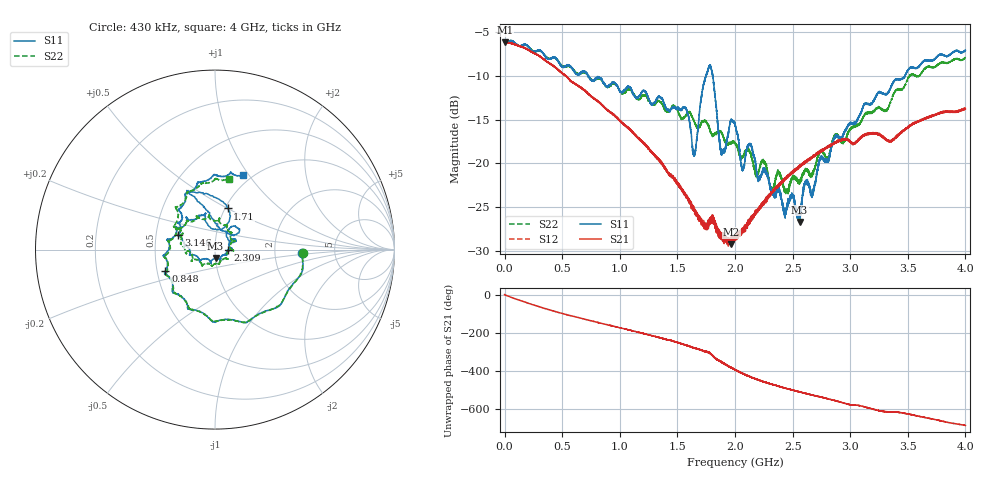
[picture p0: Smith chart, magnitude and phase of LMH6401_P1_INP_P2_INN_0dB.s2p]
!Keysight Technologies N9917A: A.08.18
!Date: Saturday, 27 May 2023 16:28:40
!Timezone: (GMT-07:00) Mountain Time (US & Canada)
!Model: N9917A
!Serial: MY52401314
!GPS Latitude:
!GPS Longitude:
!GPS TimeStamp: 0001-01-01 00:00:00Z
!GPS Seconds Since Last Read: 0
!CHECKSUM:0470450159
!Correction: S11(ON U)S21(ON U)S12(ON U)S22(ON U)
!S2P File: Measurements:S11,S21,S12,S22:
# Hz S DB R 50
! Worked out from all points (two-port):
!   10000 points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, 430 kHz to 4 GHz, reference 50 ohm
!   highest |S21| = -6.18 dB at 830 kHz (marker M1); lowest = -29.2 dB at 1.967 GHz (marker M2)
!   |S21| within 3 dB of the highest: start of sweep to 450.4 MHz; 450.4598 MHz to 451.4884 MHz (1.029 MHz wide, 0.228 % of centre)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
!   lowest |S11| = -26.7 dB at 2.56 GHz (marker M3), VSWR 1.10, Z = 50.1 - j4.64 ohm
!   |S11| at or under -10 dB: 725.3477 MHz to 726.4237 MHz (1.076 MHz wide, 0.148 % of centre); 726.4 MHz to 1.748 GHz (1.021 GHz wide, 82.5 % of centre); 1.808 GHz to 3.476 GHz (1.668 GHz wide, 63.1 % of centre)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
!   |S22| runs from -23.5 to -6.0 dB; largest |S21 - S12| = 0.0056
!   S11 on the Smith chart (normalised r, x): 430 kHz: 2.89, -0.13; 848 MHz: 0.55, -0.14; 1.71 GHz: 1.03, +0.50; 2.309 GHz: 1.15, -0.00; 3.146 GHz: 0.65, +0.11; 4 GHz: 0.91, +0.93
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429997  -6.25 -2.0  -6.20 1.6  -6.20 1.7  -6.23 -2.2
829994  -6.28 -1.6  -6.18 0.7  -6.20 0.8  -6.25 -1.6
3.032277e8  -7.10 -66.7  -7.78 -62.5  -7.79 -62.8  -7.15 -66.3
6.67225e8  -9.72 -132.8  -11.43 -123.3  -11.43 -123.4  -9.68 -130.7
8.480236e8  -10.45 -157.1  -13.37 -151.4  -13.35 -151.0  -10.60 -155.3
1.33362e9  -12.41 131.4  -19.52 136.5  -19.56 137.1  -12.91 135.3
1.572418e9  -13.72 106.4  -23.56 95.8  -23.56 96.1  -14.50 100.2
1.645618e9  -18.97 86.7  -25.17 81.5  -25.43 82.0  -15.23 98.8
1.710017e9  -12.41 73.0  -26.73 68.2  -26.59 69.5  -15.32 82.2
1.787617e9  -8.93 115.6  -26.90 49.6  -26.75 51.8  -16.53 78.9
1.883616e9  -18.79 69.2  -28.33 6.5  -28.13 6.5  -16.56 63.2
1.966815e9  -15.10 40.1  -29.23 -20.9  -28.92 -20.2  -17.75 46.1
2.000415e9  -15.50 51.8  -28.50 -33.3  -28.38 -33.1  -17.73 45.7
2.064415e9  -20.58 40.1  -27.69 -51.3  -27.89 -51.0  -19.32 30.6
2.131614e9  -17.84 25.6  -26.44 -70.8  -26.46 -70.6  -18.77 25.2
2.308813e9  -22.88 -1.6  -23.56 -108.6  -23.59 -107.9  -22.65 -12.4
2.560411e9  -26.68 -86.4  -20.29 -149.9  -20.46 -149.7  -22.26 -86.5
2.61321e9  -21.94 -107.9  -19.83 -158.0  -19.84 -157.9  -20.57 -101.6
2.66681e9  -23.65 -122.4  -19.32 -166.2  -19.37 -165.2  -21.48 -112.5
3.145606e9  -13.17 158.4  -16.75 127.1  -16.64 128.0  -14.18 169.4
3.333605e9  -11.78 135.5  -17.46 105.2  -17.46 105.3  -13.64 152.5
4e9  -7.10 69.7  -13.77 33.5  -13.74 34.0  -7.89 78.7
